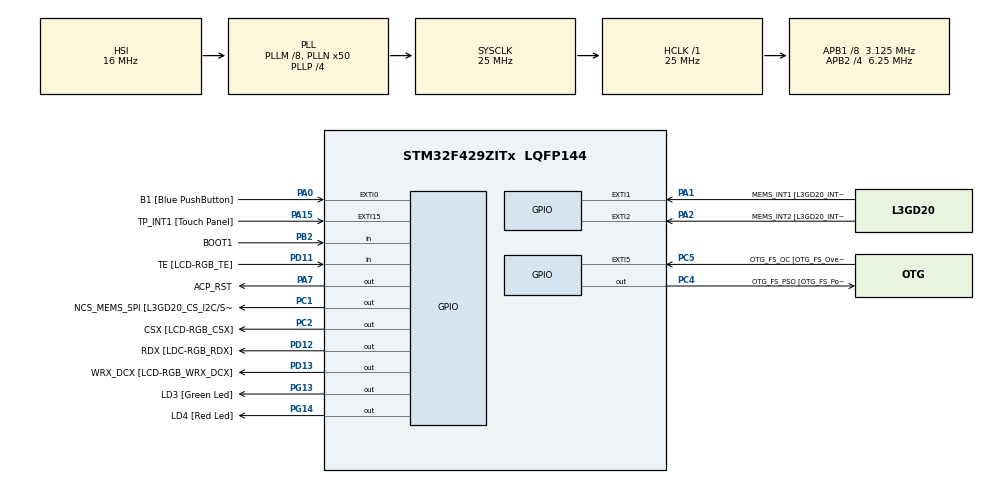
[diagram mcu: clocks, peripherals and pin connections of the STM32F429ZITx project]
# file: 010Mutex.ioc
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Mcu.Family=STM32F4
Mcu.Name=STM32F429ZITx
Mcu.Package=LQFP144
NVIC.PriorityGroup=NVIC_PRIORITYGROUP_4
NVIC.TIM6_DAC_IRQn=true\:15\:0\:false\:false\:true\:false\:true\:true
NVIC.TimeBase=TIM6_DAC_IRQn
NVIC.TimeBaseIP=TIM6
PA0/WKUP.GPIO_Label=B1 [Blue PushButton]
PA0/WKUP.GPIO_ModeDefaultEXTI=GPIO_MODE_EVT_RISING
PA0/WKUP.GPIO_PuPd=GPIO_NOPULL
PA0/WKUP.Signal=GPXTI0
PA1.GPIO_Label=MEMS_INT1 [L3GD20_INT1]
PA1.GPIO_ModeDefaultEXTI=GPIO_MODE_EVT_RISING
PA1.GPIO_PuPd=GPIO_NOPULL
PA1.Signal=GPXTI1
PA10.GPIO_Label=STLINK_TX [STM32F103CBT6_PA2]
PA10.Signal=USART1_RX
PA11.GPIO_Label=R4
PA11.GPIO_Mode=GPIO_MODE_AF_PP
PA11.GPIO_PuPd=GPIO_NOPULL
PA11.GPIO_Speed=GPIO_SPEED_FREQ_LOW
PA11.Signal=LTDC_R4
PA12.GPIO_Label=R5
PA12.GPIO_Mode=GPIO_MODE_AF_PP
PA12.GPIO_PuPd=GPIO_NOPULL
PA12.GPIO_Speed=GPIO_SPEED_FREQ_LOW
PA12.Signal=LTDC_R5
PA13.GPIO_Label=SWDIO
PA13.Signal=SYS_JTMS-SWDIO
PA14.GPIO_Label=SWCLK
PA14.Signal=SYS_JTCK-SWCLK
PA15.GPIO_Label=TP_INT1 [Touch Panel]
PA15.GPIO_ModeDefaultEXTI=GPIO_MODE_EVT_RISING
PA15.GPIO_PuPd=GPIO_NOPULL
PA15.Signal=GPXTI15
PA2.GPIO_Label=MEMS_INT2 [L3GD20_INT2]
PA2.GPIO_ModeDefaultEXTI=GPIO_MODE_EVT_RISING
PA2.GPIO_PuPd=GPIO_NOPULL
PA2.Signal=GPXTI2
PA3.GPIO_Label=B5
PA3.GPIO_Mode=GPIO_MODE_AF_PP
PA3.GPIO_PuPd=GPIO_NOPULL
PA3.GPIO_Speed=GPIO_SPEED_FREQ_LOW
PA3.Signal=LTDC_B5
PA4.GPIO_Label=VSYNC
PA4.GPIO_Mode=GPIO_MODE_AF_PP
PA4.GPIO_PuPd=GPIO_NOPULL
PA4.GPIO_Speed=GPIO_SPEED_FREQ_LOW
PA4.Signal=LTDC_VSYNC
PA6.GPIO_Label=G2
PA6.GPIO_Mode=GPIO_MODE_AF_PP
PA6.GPIO_PuPd=GPIO_NOPULL
PA6.GPIO_Speed=GPIO_SPEED_FREQ_LOW
PA6.Signal=LTDC_G2
PA7.GPIO_Label=ACP_RST
PA7.GPIO_Mode=GPIO_MODE_OUTPUT_PP
PA7.GPIO_PuPd=GPIO_NOPULL
PA7.GPIO_Speed=GPIO_SPEED_FREQ_LOW
PA7.Signal=GPIO_Output
PA8.GPIO_Label=I2C3_SCL [ACP/RF_SCL]
PA8.GPIO_Mode=GPIO_MODE_AF_OD
PA8.GPIO_PuPd=GPIO_NOPULL
PA8.GPIO_Speed=GPIO_SPEED_FREQ_LOW
PA8.Signal=I2C3_SCL
PA9.GPIO_Label=STLINK_RX [STM32F103CBT6_PA3]
PA9.Signal=USART1_TX
PB0.GPIO_Label=R3
PB0.GPIO_Mode=GPIO_MODE_AF_PP
PB0.GPIO_PuPd=GPIO_NOPULL
PB0.GPIO_Speed=GPIO_SPEED_FREQ_LOW
PB0.Signal=LTDC_R3
PB1.GPIO_Label=R6
PB1.GPIO_Mode=GPIO_MODE_AF_PP
PB1.GPIO_PuPd=GPIO_NOPULL
PB1.GPIO_Speed=GPIO_SPEED_FREQ_LOW
PB1.Signal=LTDC_R6
PB10.GPIO_Label=G4
PB10.GPIO_Mode=GPIO_MODE_AF_PP
PB10.GPIO_PuPd=GPIO_NOPULL
PB10.GPIO_Speed=GPIO_SPEED_FREQ_LOW
PB10.Signal=LTDC_G4
PB11.GPIO_Label=G5
PB11.GPIO_Mode=GPIO_MODE_AF_PP
PB11.GPIO_PuPd=GPIO_NOPULL
PB11.GPIO_Speed=GPIO_SPEED_FREQ_LOW
PB11.Signal=LTDC_G5
PB12.GPIO_Label=OTG_HS_ID
PB12.GPIO_Mode=GPIO_MODE_AF_PP
PB12.GPIO_PuPd=GPIO_NOPULL
PB12.GPIO_Speed=GPIO_SPEED_FREQ_LOW
PB12.Signal=USB_OTG_HS_ID
PB13.GPIO_Label=VBUS_HS
PB13.GPIO_Mode=GPIO_MODE_INPUT
PB13.GPIO_PuPd=GPIO_NOPULL
PB13.Signal=USB_OTG_HS_VBUS
PB14.GPIO_Label=OTG_HS_DM
PB14.GPIO_Mode=GPIO_MODE_AF_PP
PB14.GPIO_PuPd=GPIO_NOPULL
PB14.GPIO_Speed=GPIO_SPEED_FREQ_LOW
PB14.Signal=USB_OTG_HS_DM
PB15.GPIO_Label=OTG_HS_DP
PB15.GPIO_Mode=GPIO_MODE_AF_PP
PB15.GPIO_PuPd=GPIO_NOPULL
PB15.GPIO_Speed=GPIO_SPEED_FREQ_LOW
PB15.Signal=USB_OTG_HS_DP
PB2/BOOT1.GPIO_Label=BOOT1
PB2/BOOT1.GPIO_Mode=GPIO_MODE_INPUT
PB2/BOOT1.GPIO_PuPd=GPIO_NOPULL
PB2/BOOT1.Signal=GPIO_Input
PB5.GPIO_Label=SDCKE1
PB5.GPIO_Mode=GPIO_MODE_AF_PP
PB5.GPIO_PuPd=GPIO_NOPULL
PB5.GPIO_Speed=GPIO_SPEED_FREQ_VERY_HIGH
PB5.Signal=FMC_SDCKE1
PB6.GPIO_Label=SDNE1 [SDRAM_CS]
PB6.GPIO_Mode=GPIO_MODE_AF_PP
PB6.GPIO_PuPd=GPIO_NOPULL
PB6.GPIO_Speed=GPIO_SPEED_FREQ_VERY_HIGH
PB6.Signal=FMC_SDNE1
PB8.GPIO_Label=B6
PB8.GPIO_Mode=GPIO_MODE_AF_PP
PB8.GPIO_PuPd=GPIO_NOPULL
PB8.GPIO_Speed=GPIO_SPEED_FREQ_LOW
PB8.Signal=LTDC_B6
PB9.GPIO_Label=B7
PB9.GPIO_Mode=GPIO_MODE_AF_PP
PB9.GPIO_PuPd=GPIO_NOPULL
PB9.GPIO_Speed=GPIO_SPEED_FREQ_LOW
PB9.Signal=LTDC_B7
PC0.GPIO_Label=SDNWE
PC0.GPIO_Mode=GPIO_MODE_AF_PP
PC0.GPIO_PuPd=GPIO_NOPULL
PC0.GPIO_Speed=GPIO_SPEED_FREQ_VERY_HIGH
PC0.Signal=FMC_SDNWE
PC1.GPIO_Label=NCS_MEMS_SPI [L3GD20_CS_I2C/SPI]
PC1.GPIO_Mode=GPIO_MODE_OUTPUT_PP
PC1.GPIO_PuPd=GPIO_NOPULL
PC1.GPIO_Speed=GPIO_SPEED_FREQ_LOW
PC1.Signal=GPIO_Output
PC10.GPIO_Label=R2
PC10.GPIO_Mode=GPIO_MODE_AF_PP
PC10.GPIO_PuPd=GPIO_NOPULL
PC10.GPIO_Speed=GPIO_SPEED_FREQ_LOW
PC10.Signal=LTDC_R2
PC14/OSC32_IN.GPIO_Label=PC14-OSC32_IN
PC14/OSC32_IN.Signal=RCC_OSC32_IN
PC15/OSC32_OUT.GPIO_Label=PC15-OSC32_OUT
PC15/OSC32_OUT.Signal=RCC_OSC32_OUT
PC2.GPIO_Label=CSX [LCD-RGB_CSX]
PC2.GPIO_Mode=GPIO_MODE_OUTPUT_PP
PC2.GPIO_PuPd=GPIO_NOPULL
PC2.GPIO_Speed=GPIO_SPEED_FREQ_LOW
PC2.Signal=GPIO_Output
PC4.GPIO_Label=OTG_FS_PSO [OTG_FS_PowerSwitchOn]
PC4.GPIO_Mode=GPIO_MODE_OUTPUT_PP
PC4.GPIO_PuPd=GPIO_NOPULL
PC4.GPIO_Speed=GPIO_SPEED_FREQ_LOW
PC4.Signal=GPIO_Output
PC5.GPIO_Label=OTG_FS_OC [OTG_FS_OverCurrent]
PC5.GPIO_ModeDefaultEXTI=GPIO_MODE_EVT_RISING
PC5.Signal=GPXTI5
PC6.GPIO_Label=HSYNC
PC6.GPIO_Mode=GPIO_MODE_AF_PP
PC6.GPIO_PuPd=GPIO_NOPULL
PC6.GPIO_Speed=GPIO_SPEED_FREQ_LOW
PC6.Signal=LTDC_HSYNC
PC7.GPIO_Label=G6
PC7.GPIO_Mode=GPIO_MODE_AF_PP
PC7.GPIO_PuPd=GPIO_NOPULL
PC7.GPIO_Speed=GPIO_SPEED_FREQ_LOW
PC7.Signal=LTDC_G6
PC9.GPIO_Label=I2C3_SDA [ACP/RF_SDA]
PC9.GPIO_Mode=GPIO_MODE_AF_OD
PC9.GPIO_PuPd=GPIO_NOPULL
PC9.GPIO_Speed=GPIO_SPEED_FREQ_LOW
PC9.Signal=I2C3_SDA
PD0.GPIO_Label=D2
PD0.GPIO_Mode=GPIO_MODE_AF_PP
PD0.GPIO_PuPd=GPIO_NOPULL
PD0.GPIO_Speed=GPIO_SPEED_FREQ_VERY_HIGH
PD0.Signal=FMC_D2_DA2
PD1.GPIO_Label=D3
PD1.GPIO_Mode=GPIO_MODE_AF_PP
PD1.GPIO_PuPd=GPIO_NOPULL
PD1.GPIO_Speed=GPIO_SPEED_FREQ_VERY_HIGH
PD1.Signal=FMC_D3_DA3
PD10.GPIO_Label=D15
PD10.GPIO_Mode=GPIO_MODE_AF_PP
PD10.GPIO_PuPd=GPIO_NOPULL
PD10.GPIO_Speed=GPIO_SPEED_FREQ_VERY_HIGH
PD10.Signal=FMC_D15_DA15
PD11.GPIO_Label=TE [LCD-RGB_TE]
PD11.GPIO_Mode=GPIO_MODE_INPUT
PD11.GPIO_PuPd=GPIO_NOPULL
PD11.Signal=GPIO_Input
PD12.GPIO_Label=RDX [LDC-RGB_RDX]
PD12.GPIO_Mode=GPIO_MODE_OUTPUT_PP
PD12.GPIO_PuPd=GPIO_NOPULL
PD12.GPIO_Speed=GPIO_SPEED_FREQ_LOW
PD12.Signal=GPIO_Output
PD13.GPIO_Label=WRX_DCX [LCD-RGB_WRX_DCX]
PD13.GPIO_Mode=GPIO_MODE_OUTPUT_PP
PD13.GPIO_PuPd=GPIO_NOPULL
PD13.GPIO_Speed=GPIO_SPEED_FREQ_LOW
PD13.Signal=GPIO_Output
PD14.GPIO_Label=D0
PD14.GPIO_Mode=GPIO_MODE_AF_PP
PD14.GPIO_PuPd=GPIO_NOPULL
PD14.GPIO_Speed=GPIO_SPEED_FREQ_VERY_HIGH
PD14.Signal=FMC_D0_DA0
PD15.GPIO_Label=D1
PD15.GPIO_Mode=GPIO_MODE_AF_PP
PD15.GPIO_PuPd=GPIO_NOPULL
PD15.GPIO_Speed=GPIO_SPEED_FREQ_VERY_HIGH
PD15.Signal=FMC_D1_DA1
PD3.GPIO_Label=G7
PD3.GPIO_Mode=GPIO_MODE_AF_PP
PD3.GPIO_PuPd=GPIO_NOPULL
PD3.GPIO_Speed=GPIO_SPEED_FREQ_LOW
PD3.Signal=LTDC_G7
PD6.GPIO_Label=B2
PD6.GPIO_Mode=GPIO_MODE_AF_PP
PD6.GPIO_PuPd=GPIO_NOPULL
PD6.GPIO_Speed=GPIO_SPEED_FREQ_LOW
PD6.Signal=LTDC_B2
PD8.GPIO_Label=D13
PD8.GPIO_Mode=GPIO_MODE_AF_PP
PD8.GPIO_PuPd=GPIO_NOPULL
PD8.GPIO_Speed=GPIO_SPEED_FREQ_VERY_HIGH
PD8.Signal=FMC_D13_DA13
PD9.GPIO_Label=D14
PD9.GPIO_Mode=GPIO_MODE_AF_PP
PD9.GPIO_PuPd=GPIO_NOPULL
PD9.GPIO_Speed=GPIO_SPEED_FREQ_VERY_HIGH
PD9.Signal=FMC_D14_DA14
PE0.GPIO_Label=NBL0 [SDRAM_LDQM]
PE0.GPIO_Mode=GPIO_MODE_AF_PP
PE0.GPIO_PuPd=GPIO_NOPULL
PE0.GPIO_Speed=GPIO_SPEED_FREQ_VERY_HIGH
PE0.Signal=FMC_NBL0
PE1.GPIO_Label=NBL1 [SDRAM_UDQM]
PE1.GPIO_Mode=GPIO_MODE_AF_PP
PE1.GPIO_PuPd=GPIO_NOPULL
PE1.GPIO_Speed=GPIO_SPEED_FREQ_VERY_HIGH
PE1.Signal=FMC_NBL1
PE10.GPIO_Label=D7
PE10.GPIO_Mode=GPIO_MODE_AF_PP
PE10.GPIO_PuPd=GPIO_NOPULL
PE10.GPIO_Speed=GPIO_SPEED_FREQ_VERY_HIGH
PE10.Signal=FMC_D7_DA7
PE11.GPIO_Label=D8
PE11.GPIO_Mode=GPIO_MODE_AF_PP
PE11.GPIO_PuPd=GPIO_NOPULL
PE11.GPIO_Speed=GPIO_SPEED_FREQ_VERY_HIGH
PE11.Signal=FMC_D8_DA8
PE12.GPIO_Label=D9
PE12.GPIO_Mode=GPIO_MODE_AF_PP
PE12.GPIO_PuPd=GPIO_NOPULL
PE12.GPIO_Speed=GPIO_SPEED_FREQ_VERY_HIGH
PE12.Signal=FMC_D9_DA9
PE13.GPIO_Label=D10
PE13.GPIO_Mode=GPIO_MODE_AF_PP
PE13.GPIO_PuPd=GPIO_NOPULL
PE13.GPIO_Speed=GPIO_SPEED_FREQ_VERY_HIGH
PE13.Signal=FMC_D10_DA10
PE14.GPIO_Label=D11
PE14.GPIO_Mode=GPIO_MODE_AF_PP
PE14.GPIO_PuPd=GPIO_NOPULL
PE14.GPIO_Speed=GPIO_SPEED_FREQ_VERY_HIGH
PE14.Signal=FMC_D11_DA11
PE15.GPIO_Label=D12
PE15.GPIO_Mode=GPIO_MODE_AF_PP
PE15.GPIO_PuPd=GPIO_NOPULL
PE15.GPIO_Speed=GPIO_SPEED_FREQ_VERY_HIGH
PE15.Signal=FMC_D12_DA12
PE7.GPIO_Label=D4
PE7.GPIO_Mode=GPIO_MODE_AF_PP
PE7.GPIO_PuPd=GPIO_NOPULL
PE7.GPIO_Speed=GPIO_SPEED_FREQ_VERY_HIGH
PE7.Signal=FMC_D4_DA4
PE8.GPIO_Label=D5
PE8.GPIO_Mode=GPIO_MODE_AF_PP
PE8.GPIO_PuPd=GPIO_NOPULL
PE8.GPIO_Speed=GPIO_SPEED_FREQ_VERY_HIGH
PE8.Signal=FMC_D5_DA5
PE9.GPIO_Label=D6
PE9.GPIO_Mode=GPIO_MODE_AF_PP
PE9.GPIO_PuPd=GPIO_NOPULL
PE9.GPIO_Speed=GPIO_SPEED_FREQ_VERY_HIGH
PE9.Signal=FMC_D6_DA6
PF0.GPIO_Label=A0
PF0.GPIO_Mode=GPIO_MODE_AF_PP
PF0.GPIO_PuPd=GPIO_NOPULL
PF0.GPIO_Speed=GPIO_SPEED_FREQ_VERY_HIGH
PF0.Signal=FMC_A0
PF1.GPIO_Label=A1
PF1.GPIO_Mode=GPIO_MODE_AF_PP
PF1.GPIO_PuPd=GPIO_NOPULL
PF1.GPIO_Speed=GPIO_SPEED_FREQ_VERY_HIGH
PF1.Signal=FMC_A1
PF10.GPIO_Label=ENABLE [LCD-RGB_ENABLE]
PF10.GPIO_Mode=GPIO_MODE_AF_PP
PF10.GPIO_PuPd=GPIO_NOPULL
PF10.GPIO_Speed=GPIO_SPEED_FREQ_LOW
PF10.Signal=LTDC_DE
PF11.GPIO_Label=SDNRAS
PF11.GPIO_Mode=GPIO_MODE_AF_PP
PF11.GPIO_PuPd=GPIO_NOPULL
PF11.GPIO_Speed=GPIO_SPEED_FREQ_VERY_HIGH
PF11.Signal=FMC_SDNRAS
PF12.GPIO_Label=A6
PF12.GPIO_Mode=GPIO_MODE_AF_PP
PF12.GPIO_PuPd=GPIO_NOPULL
PF12.GPIO_Speed=GPIO_SPEED_FREQ_VERY_HIGH
PF12.Signal=FMC_A6
PF13.GPIO_Label=A7
PF13.GPIO_Mode=GPIO_MODE_AF_PP
PF13.GPIO_PuPd=GPIO_NOPULL
PF13.GPIO_Speed=GPIO_SPEED_FREQ_VERY_HIGH
PF13.Signal=FMC_A7
PF14.GPIO_Label=A8
PF14.GPIO_Mode=GPIO_MODE_AF_PP
PF14.GPIO_PuPd=GPIO_NOPULL
PF14.GPIO_Speed=GPIO_SPEED_FREQ_VERY_HIGH
PF14.Signal=FMC_A8
PF15.GPIO_Label=A9
PF15.GPIO_Mode=GPIO_MODE_AF_PP
PF15.GPIO_PuPd=GPIO_NOPULL
PF15.GPIO_Speed=GPIO_SPEED_FREQ_VERY_HIGH
PF15.Signal=FMC_A9
PF2.GPIO_Label=A2
PF2.GPIO_Mode=GPIO_MODE_AF_PP
PF2.GPIO_PuPd=GPIO_NOPULL
PF2.GPIO_Speed=GPIO_SPEED_FREQ_VERY_HIGH
PF2.Signal=FMC_A2
PF3.GPIO_Label=A3
PF3.GPIO_Mode=GPIO_MODE_AF_PP
PF3.GPIO_PuPd=GPIO_NOPULL
PF3.GPIO_Speed=GPIO_SPEED_FREQ_VERY_HIGH
PF3.Signal=FMC_A3
PF4.GPIO_Label=A4
PF4.GPIO_Mode=GPIO_MODE_AF_PP
PF4.GPIO_PuPd=GPIO_NOPULL
PF4.GPIO_Speed=GPIO_SPEED_FREQ_VERY_HIGH
PF4.Signal=FMC_A4
PF5.GPIO_Label=A5
PF5.GPIO_Mode=GPIO_MODE_AF_PP
PF5.GPIO_PuPd=GPIO_NOPULL
PF5.GPIO_Speed=GPIO_SPEED_FREQ_VERY_HIGH
PF5.Signal=FMC_A5
PF7.GPIO_Label=SPI5_SCK [L3GD20_SCL/SPC]
PF7.GPIO_Mode=GPIO_MODE_AF_PP
PF7.GPIO_PuPd=GPIO_NOPULL
PF7.GPIO_Speed=GPIO_SPEED_FREQ_LOW
PF7.Signal=SPI5_SCK
PF8.GPIO_Label=SPI5_MISO [L3GD20_SDO]
PF8.GPIO_Mode=GPIO_MODE_AF_PP
PF8.GPIO_PuPd=GPIO_NOPULL
PF8.GPIO_Speed=GPIO_SPEED_FREQ_LOW
PF8.Signal=SPI5_MISO
PF9.GPIO_Label=SPI5_MOSI [L3GD20_SDA/SDI/SDO]
PF9.GPIO_Mode=GPIO_MODE_AF_PP
PF9.GPIO_PuPd=GPIO_NOPULL
PF9.GPIO_Speed=GPIO_SPEED_FREQ_LOW
PF9.Signal=SPI5_MOSI
PG0.GPIO_Label=A10
PG0.GPIO_Mode=GPIO_MODE_AF_PP
PG0.GPIO_PuPd=GPIO_NOPULL
PG0.GPIO_Speed=GPIO_SPEED_FREQ_VERY_HIGH
PG0.Signal=FMC_A10
PG1.GPIO_Label=A11
PG1.GPIO_Mode=GPIO_MODE_AF_PP
PG1.GPIO_PuPd=GPIO_NOPULL
PG1.GPIO_Speed=GPIO_SPEED_FREQ_VERY_HIGH
PG1.Signal=FMC_A11
PG10.GPIO_Label=G3
PG10.GPIO_Mode=GPIO_MODE_AF_PP
PG10.GPIO_PuPd=GPIO_NOPULL
PG10.GPIO_Speed=GPIO_SPEED_FREQ_LOW
PG10.Signal=LTDC_G3
PG11.GPIO_Label=B3
PG11.GPIO_Mode=GPIO_MODE_AF_PP
PG11.GPIO_PuPd=GPIO_NOPULL
PG11.GPIO_Speed=GPIO_SPEED_FREQ_LOW
PG11.Signal=LTDC_B3
PG12.GPIO_Label=B4
PG12.GPIO_Mode=GPIO_MODE_AF_PP
PG12.GPIO_PuPd=GPIO_NOPULL
PG12.GPIO_Speed=GPIO_SPEED_FREQ_LOW
PG12.Signal=LTDC_B4
PG13.GPIO_Label=LD3 [Green Led]
PG13.GPIO_Mode=GPIO_MODE_OUTPUT_PP
PG13.GPIO_PuPd=GPIO_NOPULL
PG13.GPIO_Speed=GPIO_SPEED_FREQ_LOW
PG13.Signal=GPIO_Output
PG14.GPIO_Label=LD4 [Red Led]
PG14.GPIO_Mode=GPIO_MODE_OUTPUT_PP
PG14.GPIO_PuPd=GPIO_NOPULL
PG14.GPIO_Speed=GPIO_SPEED_FREQ_LOW
PG14.Signal=GPIO_Output
PG15.GPIO_Label=SDNCAS
PG15.GPIO_Mode=GPIO_MODE_AF_PP
PG15.GPIO_PuPd=GPIO_NOPULL
PG15.GPIO_Speed=GPIO_SPEED_FREQ_VERY_HIGH
PG15.Signal=FMC_SDNCAS
PG4.GPIO_Label=BA0
PG4.GPIO_Mode=GPIO_MODE_AF_PP
PG4.GPIO_PuPd=GPIO_NOPULL
PG4.GPIO_Speed=GPIO_SPEED_FREQ_VERY_HIGH
PG4.Signal=FMC_A14_BA0
PG5.GPIO_Label=BA1
PG5.GPIO_Mode=GPIO_MODE_AF_PP
PG5.GPIO_PuPd=GPIO_NOPULL
PG5.GPIO_Speed=GPIO_SPEED_FREQ_VERY_HIGH
PG5.Signal=FMC_A15_BA1
PG6.GPIO_Label=R7
PG6.GPIO_Mode=GPIO_MODE_AF_PP
PG6.GPIO_PuPd=GPIO_NOPULL
PG6.GPIO_Speed=GPIO_SPEED_FREQ_LOW
PG6.Signal=LTDC_R7
PG7.GPIO_Label=DOTCLK [LCT-RGB_DOTCLK]
PG7.GPIO_Mode=GPIO_MODE_AF_PP
PG7.GPIO_PuPd=GPIO_NOPULL
PG7.GPIO_Speed=GPIO_SPEED_FREQ_LOW
PG7.Signal=LTDC_CLK
PG8.GPIO_Label=SDCLK
PG8.GPIO_Mode=GPIO_MODE_AF_PP
PG8.GPIO_PuPd=GPIO_NOPULL
PG8.GPIO_Speed=GPIO_SPEED_FREQ_VERY_HIGH
PG8.Signal=FMC_SDCLK
PH0/OSC_IN.GPIO_Label=PH0-OSC_IN
PH0/OSC_IN.Signal=RCC_OSC_IN
PH1/OSC_OUT.GPIO_Label=PH1-OSC_OUT
PH1/OSC_OUT.Signal=RCC_OSC_OUT
ProjectManager.HeapSize=0x200
ProjectManager.StackSize=0x400
ProjectManager.TargetToolchain=STM32CubeIDE
RCC.48MHZClocksFreq_Value=14285714.285714285
RCC.AHBFreq_Value=25000000
RCC.APB1CLKDivider=RCC_HCLK_DIV8
RCC.APB1Freq_Value=3125000
RCC.APB1TimFreq_Value=6250000
RCC.APB2CLKDivider=RCC_HCLK_DIV4
RCC.APB2Freq_Value=6250000
RCC.APB2TimFreq_Value=12500000
RCC.CortexFreq_Value=25000000
RCC.HCLKFreq_Value=25000000
RCC.HSE_VALUE=8000000
RCC.HSI_VALUE=16000000
RCC.LSE_VALUE=32768
RCC.PLLM=8
RCC.PLLN=50
RCC.PLLP=RCC_PLLP_DIV4
RCC.PLLQ=7
RCC.SYSCLKFreq_VALUE=25000000
RCC.SYSCLKSource=RCC_SYSCLKSOURCE_PLLCLK
RCC.VCOOutputFreq_Value=100000000
SH.FMC_A0.0=FMC_A0
SH.FMC_A1.0=FMC_A1
SH.FMC_A10.0=FMC_A10
SH.FMC_A11.0=FMC_A11
SH.FMC_A14_BA0.0=FMC_BA0
SH.FMC_A15_BA1.0=FMC_BA1
SH.FMC_A2.0=FMC_A2
SH.FMC_A3.0=FMC_A3
SH.FMC_A4.0=FMC_A4
SH.FMC_A5.0=FMC_A5
SH.FMC_A6.0=FMC_A6
SH.FMC_A7.0=FMC_A7
SH.FMC_A8.0=FMC_A8
SH.FMC_A9.0=FMC_A9
SH.FMC_D0_DA0.0=FMC_D0
SH.FMC_D10_DA10.0=FMC_D10
SH.FMC_D11_DA11.0=FMC_D11
SH.FMC_D12_DA12.0=FMC_D12
SH.FMC_D13_DA13.0=FMC_D13
SH.FMC_D14_DA14.0=FMC_D14
SH.FMC_D15_DA15.0=FMC_D15
SH.FMC_D1_DA1.0=FMC_D1
SH.FMC_D2_DA2.0=FMC_D2
SH.FMC_D3_DA3.0=FMC_D3
SH.FMC_D4_DA4.0=FMC_D4
SH.FMC_D5_DA5.0=FMC_D5
SH.FMC_D6_DA6.0=FMC_D6
SH.FMC_D7_DA7.0=FMC_D7
SH.FMC_D8_DA8.0=FMC_D8
SH.FMC_D9_DA9.0=FMC_D9
SH.FMC_NBL0.0=FMC_NBL0
SH.FMC_NBL1.0=FMC_NBL1
SH.FMC_SDCLK.0=FMC_SDCLK
SH.FMC_SDNCAS.0=FMC_SDNCAS
SH.FMC_SDNRAS.0=FMC_SDNRAS
SH.FMC_SDNWE.0=FMC_SDNWE
VP_SYS_VS_tim6.Mode=TIM6
board=STM32F429I-DISC1

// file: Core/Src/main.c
/* USER CODE BEGIN Header */
/**
  ******************************************************************************
  * @file           : main.c
  * @brief          : Main program body
  ******************************************************************************
  * @attention
  *
  * Copyright (c) 2024 STMicroelectronics.
  * All rights reserved.
  *
  * This software is licensed under terms that can be found in the LICENSE file
  * in the root directory of this software component.
  * If no LICENSE file comes with this software, it is provided AS-IS.
  *
  ******************************************************************************
  */
/* USER CODE END Header */
#include "main.h"
#include <stdio.h>
#include "FreeRTOS.h"
#include "task.h"
#include "semphr.h"

/* USER CODE BEGIN PV */

SemaphoreHandle_t xLogMutex;

/* USER CODE END PV */

void SystemClock_Config(void);
static void MX_GPIO_Init(void);
/* USER CODE BEGIN PFP */
static void TaskHandler1(void *pvParam);
static void TaskHandler2(void *pvParam);
static void TaskHandler3(void *pvParam);
static void AddToLog(const char *pcString);

/* USER CODE END PFP */

int main(void)
{
  /* USER CODE BEGIN 1 */
	BaseType_t xRet = pdFAIL;
	TaskHandle_t task1Handle, task2Handle, task3Handle;

  /* USER CODE END 1 */

  /* MCU Configuration--------------------------------------------------------*/

  /* Reset of all peripherals, Initializes the Flash interface and the Systick. */
  HAL_Init();

  /* Configure the system clock */
  SystemClock_Config();

  /* Initialize all configured peripherals */
  MX_GPIO_Init();
  /* USER CODE BEGIN 2 */
  xRet = xTaskCreate(TaskHandler1, "task_handler1", 200, NULL, 2, &task1Handle);
  configASSERT(pdPASS == xRet);

  xRet = xTaskCreate(TaskHandler2, "task_handler2", 200, NULL, 2, &task2Handle);
  configASSERT(pdPASS == xRet);

  xRet = xTaskCreate(TaskHandler3, "task_handler3", 200, NULL, 2, &task3Handle);
  configASSERT(pdPASS == xRet);

  xLogMutex = xSemaphoreCreateMutex();
  configASSERT(xLogMutex != NULL);

  vTaskStartScheduler();

  /* USER CODE END 2 */

  /* Infinite loop */
  while (1)
  {

  }
}

void SystemClock_Config(void)
{
  RCC_OscInitTypeDef RCC_OscInitStruct = {0};
  RCC_ClkInitTypeDef RCC_ClkInitStruct = {0};

  /** Configure the main internal regulator output voltage
  */
  __HAL_RCC_PWR_CLK_ENABLE();
  __HAL_PWR_VOLTAGESCALING_CONFIG(PWR_REGULATOR_VOLTAGE_SCALE3);

  /** Initializes the RCC Oscillators according to the specified parameters
  * in the RCC_OscInitTypeDef structure.
  */
  RCC_OscInitStruct.OscillatorType = RCC_OSCILLATORTYPE_HSI;
  RCC_OscInitStruct.HSIState = RCC_HSI_ON;
  RCC_OscInitStruct.HSICalibrationValue = RCC_HSICALIBRATION_DEFAULT;
  RCC_OscInitStruct.PLL.PLLState = RCC_PLL_ON;
  RCC_OscInitStruct.PLL.PLLSource = RCC_PLLSOURCE_HSI;
  RCC_OscInitStruct.PLL.PLLM = 8;
  RCC_OscInitStruct.PLL.PLLN = 50;
  RCC_OscInitStruct.PLL.PLLP = RCC_PLLP_DIV4;
  RCC_OscInitStruct.PLL.PLLQ = 7;
  if (HAL_RCC_OscConfig(&RCC_OscInitStruct) != HAL_OK)
  {
    Error_Handler();
  }

  /** Initializes the CPU, AHB and APB buses clocks
  */
  RCC_ClkInitStruct.ClockType = RCC_CLOCKTYPE_HCLK|RCC_CLOCKTYPE_SYSCLK
                              |RCC_CLOCKTYPE_PCLK1|RCC_CLOCKTYPE_PCLK2;
  RCC_ClkInitStruct.SYSCLKSource = RCC_SYSCLKSOURCE_PLLCLK;
  RCC_ClkInitStruct.AHBCLKDivider = RCC_SYSCLK_DIV1;
  RCC_ClkInitStruct.APB1CLKDivider = RCC_HCLK_DIV8;
  RCC_ClkInitStruct.APB2CLKDivider = RCC_HCLK_DIV4;

  if (HAL_RCC_ClockConfig(&RCC_ClkInitStruct, FLASH_LATENCY_0) != HAL_OK)
  {
    Error_Handler();
  }
}

static void MX_GPIO_Init(void)
{
  GPIO_InitTypeDef GPIO_InitStruct = {0};

  /* GPIO Ports Clock Enable */
  __HAL_RCC_GPIOC_CLK_ENABLE();
  __HAL_RCC_GPIOF_CLK_ENABLE();
  __HAL_RCC_GPIOH_CLK_ENABLE();
  __HAL_RCC_GPIOA_CLK_ENABLE();
  __HAL_RCC_GPIOB_CLK_ENABLE();
  __HAL_RCC_GPIOG_CLK_ENABLE();
  __HAL_RCC_GPIOE_CLK_ENABLE();
  __HAL_RCC_GPIOD_CLK_ENABLE();

  /*Configure GPIO pin Output Level */
  HAL_GPIO_WritePin(GPIOC, NCS_MEMS_SPI_Pin|CSX_Pin|OTG_FS_PSO_Pin, GPIO_PIN_RESET);

  /*Configure GPIO pin Output Level */
  HAL_GPIO_WritePin(ACP_RST_GPIO_Port, ACP_RST_Pin, GPIO_PIN_RESET);

  /*Configure GPIO pin Output Level */
  HAL_GPIO_WritePin(GPIOD, RDX_Pin|WRX_DCX_Pin, GPIO_PIN_RESET);

  /*Configure GPIO pin Output Level */
  HAL_GPIO_WritePin(GPIOG, LD3_Pin|LD4_Pin, GPIO_PIN_RESET);

  /*Configure GPIO pins : A0_Pin A1_Pin A2_Pin A3_Pin
                           A4_Pin A5_Pin SDNRAS_Pin A6_Pin
                           A7_Pin A8_Pin A9_Pin */
  GPIO_InitStruct.Pin = A0_Pin|A1_Pin|A2_Pin|A3_Pin
                          |A4_Pin|A5_Pin|SDNRAS_Pin|A6_Pin
                          |A7_Pin|A8_Pin|A9_Pin;
  GPIO_InitStruct.Mode = GPIO_MODE_AF_PP;
  GPIO_InitStruct.Pull = GPIO_NOPULL;
  GPIO_InitStruct.Speed = GPIO_SPEED_FREQ_VERY_HIGH;
  GPIO_InitStruct.Alternate = GPIO_AF12_FMC;
  HAL_GPIO_Init(GPIOF, &GPIO_InitStruct);

  /*Configure GPIO pins : SPI5_SCK_Pin SPI5_MISO_Pin SPI5_MOSI_Pin */
  GPIO_InitStruct.Pin = SPI5_SCK_Pin|SPI5_MISO_Pin|SPI5_MOSI_Pin;
  GPIO_InitStruct.Mode = GPIO_MODE_AF_PP;
  GPIO_InitStruct.Pull = GPIO_NOPULL;
  GPIO_InitStruct.Speed = GPIO_SPEED_FREQ_LOW;
  GPIO_InitStruct.Alternate = GPIO_AF5_SPI5;
  HAL_GPIO_Init(GPIOF, &GPIO_InitStruct);

  /*Configure GPIO pin : ENABLE_Pin */
  GPIO_InitStruct.Pin = ENABLE_Pin;
  GPIO_InitStruct.Mode = GPIO_MODE_AF_PP;
  GPIO_InitStruct.Pull = GPIO_NOPULL;
  GPIO_InitStruct.Speed = GPIO_SPEED_FREQ_LOW;
  GPIO_InitStruct.Alternate = GPIO_AF14_LTDC;
  HAL_GPIO_Init(ENABLE_GPIO_Port, &GPIO_InitStruct);

  /*Configure GPIO pin : SDNWE_Pin */
  GPIO_InitStruct.Pin = SDNWE_Pin;
  GPIO_InitStruct.Mode = GPIO_MODE_AF_PP;
  GPIO_InitStruct.Pull = GPIO_NOPULL;
  GPIO_InitStruct.Speed = GPIO_SPEED_FREQ_VERY_HIGH;
  GPIO_InitStruct.Alternate = GPIO_AF12_FMC;
  HAL_GPIO_Init(SDNWE_GPIO_Port, &GPIO_InitStruct);

  /*Configure GPIO pins : NCS_MEMS_SPI_Pin CSX_Pin OTG_FS_PSO_Pin */
  GPIO_InitStruct.Pin = NCS_MEMS_SPI_Pin|CSX_Pin|OTG_FS_PSO_Pin;
  GPIO_InitStruct.Mode = GPIO_MODE_OUTPUT_PP;
  GPIO_InitStruct.Pull = GPIO_NOPULL;
  GPIO_InitStruct.Speed = GPIO_SPEED_FREQ_LOW;
  HAL_GPIO_Init(GPIOC, &GPIO_InitStruct);

  /*Configure GPIO pins : B1_Pin MEMS_INT1_Pin MEMS_INT2_Pin TP_INT1_Pin */
  GPIO_InitStruct.Pin = B1_Pin|MEMS_INT1_Pin|MEMS_INT2_Pin|TP_INT1_Pin;
  GPIO_InitStruct.Mode = GPIO_MODE_EVT_RISING;
  GPIO_InitStruct.Pull = GPIO_NOPULL;
  HAL_GPIO_Init(GPIOA, &GPIO_InitStruct);

  /*Configure GPIO pins : B5_Pin VSYNC_Pin G2_Pin R4_Pin
                           R5_Pin */
  GPIO_InitStruct.Pin = B5_Pin|VSYNC_Pin|G2_Pin|R4_Pin
                          |R5_Pin;
  GPIO_InitStruct.Mode = GPIO_MODE_AF_PP;
  GPIO_InitStruct.Pull = GPIO_NOPULL;
  GPIO_InitStruct.Speed = GPIO_SPEED_FREQ_LOW;
  GPIO_InitStruct.Alternate = GPIO_AF14_LTDC;
  HAL_GPIO_Init(GPIOA, &GPIO_InitStruct);

  /*Configure GPIO pin : ACP_RST_Pin */
  GPIO_InitStruct.Pin = ACP_RST_Pin;
  GPIO_InitStruct.Mode = GPIO_MODE_OUTPUT_PP;
  GPIO_InitStruct.Pull = GPIO_NOPULL;
  GPIO_InitStruct.Speed = GPIO_SPEED_FREQ_LOW;
  HAL_GPIO_Init(ACP_RST_GPIO_Port, &GPIO_InitStruct);

  /*Configure GPIO pin : OTG_FS_OC_Pin */
  GPIO_InitStruct.Pin = OTG_FS_OC_Pin;
  GPIO_InitStruct.Mode = GPIO_MODE_EVT_RISING;
  GPIO_InitStruct.Pull = GPIO_NOPULL;
  HAL_GPIO_Init(OTG_FS_OC_GPIO_Port, &GPIO_InitStruct);

  /*Configure GPIO pins : R3_Pin R6_Pin */
  GPIO_InitStruct.Pin = R3_Pin|R6_Pin;
  GPIO_InitStruct.Mode = GPIO_MODE_AF_PP;
  GPIO_InitStruct.Pull = GPIO_NOPULL;
  GPIO_InitStruct.Speed = GPIO_SPEED_FREQ_LOW;
  GPIO_InitStruct.Alternate = GPIO_AF9_LTDC;
  HAL_GPIO_Init(GPIOB, &GPIO_InitStruct);

  /*Configure GPIO pin : BOOT1_Pin */
  GPIO_InitStruct.Pin = BOOT1_Pin;
  GPIO_InitStruct.Mode = GPIO_MODE_INPUT;
  GPIO_InitStruct.Pull = GPIO_NOPULL;
  HAL_GPIO_Init(BOOT1_GPIO_Port, &GPIO_InitStruct);

  /*Configure GPIO pins : A10_Pin A11_Pin BA0_Pin BA1_Pin
                           SDCLK_Pin SDNCAS_Pin */
  GPIO_InitStruct.Pin = A10_Pin|A11_Pin|BA0_Pin|BA1_Pin
                          |SDCLK_Pin|SDNCAS_Pin;
  GPIO_InitStruct.Mode = GPIO_MODE_AF_PP;
  GPIO_InitStruct.Pull = GPIO_NOPULL;
  GPIO_InitStruct.Speed = GPIO_SPEED_FREQ_VERY_HIGH;
  GPIO_InitStruct.Alternate = GPIO_AF12_FMC;
  HAL_GPIO_Init(GPIOG, &GPIO_InitStruct);

  /*Configure GPIO pins : D4_Pin D5_Pin D6_Pin D7_Pin
                           D8_Pin D9_Pin D10_Pin D11_Pin
                           D12_Pin NBL0_Pin NBL1_Pin */
  GPIO_InitStruct.Pin = D4_Pin|D5_Pin|D6_Pin|D7_Pin
                          |D8_Pin|D9_Pin|D10_Pin|D11_Pin
                          |D12_Pin|NBL0_Pin|NBL1_Pin;
  GPIO_InitStruct.Mode = GPIO_MODE_AF_PP;
  GPIO_InitStruct.Pull = GPIO_NOPULL;
  GPIO_InitStruct.Speed = GPIO_SPEED_FREQ_VERY_HIGH;
  GPIO_InitStruct.Alternate = GPIO_AF12_FMC;
  HAL_GPIO_Init(GPIOE, &GPIO_InitStruct);

  /*Configure GPIO pins : G4_Pin G5_Pin B6_Pin B7_Pin */
  GPIO_InitStruct.Pin = G4_Pin|G5_Pin|B6_Pin|B7_Pin;
  GPIO_InitStruct.Mode = GPIO_MODE_AF_PP;
  GPIO_InitStruct.Pull = GPIO_NOPULL;
  GPIO_InitStruct.Speed = GPIO_SPEED_FREQ_LOW;
  GPIO_InitStruct.Alternate = GPIO_AF14_LTDC;
  HAL_GPIO_Init(GPIOB, &GPIO_InitStruct);

  /*Configure GPIO pins : OTG_HS_ID_Pin OTG_HS_DM_Pin OTG_HS_DP_Pin */
  GPIO_InitStruct.Pin = OTG_HS_ID_Pin|OTG_HS_DM_Pin|OTG_HS_DP_Pin;
  GPIO_InitStruct.Mode = GPIO_MODE_AF_PP;
  GPIO_InitStruct.Pull = GPIO_NOPULL;
  GPIO_InitStruct.Speed = GPIO_SPEED_FREQ_LOW;
  GPIO_InitStruct.Alternate = GPIO_AF12_OTG_HS_FS;
  HAL_GPIO_Init(GPIOB, &GPIO_InitStruct);

  /*Configure GPIO pin : VBUS_HS_Pin */
  GPIO_InitStruct.Pin = VBUS_HS_Pin;
  GPIO_InitStruct.Mode = GPIO_MODE_INPUT;
  GPIO_InitStruct.Pull = GPIO_NOPULL;
  HAL_GPIO_Init(VBUS_HS_GPIO_Port, &GPIO_InitStruct);

  /*Configure GPIO pins : D13_Pin D14_Pin D15_Pin D0_Pin
                           D1_Pin D2_Pin D3_Pin */
  GPIO_InitStruct.Pin = D13_Pin|D14_Pin|D15_Pin|D0_Pin
                          |D1_Pin|D2_Pin|D3_Pin;
  GPIO_InitStruct.Mode = GPIO_MODE_AF_PP;
  GPIO_InitStruct.Pull = GPIO_NOPULL;
  GPIO_InitStruct.Speed = GPIO_SPEED_FREQ_VERY_HIGH;
  GPIO_InitStruct.Alternate = GPIO_AF12_FMC;
  HAL_GPIO_Init(GPIOD, &GPIO_InitStruct);

  /*Configure GPIO pin : TE_Pin */
  GPIO_InitStruct.Pin = TE_Pin;
  GPIO_InitStruct.Mode = GPIO_MODE_INPUT;
  GPIO_InitStruct.Pull = GPIO_NOPULL;
  HAL_GPIO_Init(TE_GPIO_Port, &GPIO_InitStruct);

  /*Configure GPIO pins : RDX_Pin WRX_DCX_Pin */
  GPIO_InitStruct.Pin = RDX_Pin|WRX_DCX_Pin;
  GPIO_InitStruct.Mode = GPIO_MODE_OUTPUT_PP;
  GPIO_InitStruct.Pull = GPIO_NOPULL;
  GPIO_InitStruct.Speed = GPIO_SPEED_FREQ_LOW;
  HAL_GPIO_Init(GPIOD, &GPIO_InitStruct);

  /*Configure GPIO pins : R7_Pin DOTCLK_Pin B3_Pin */
  GPIO_InitStruct.Pin = R7_Pin|DOTCLK_Pin|B3_Pin;
  GPIO_InitStruct.Mode = GPIO_MODE_AF_PP;
  GPIO_InitStruct.Pull = GPIO_NOPULL;
  GPIO_InitStruct.Speed = GPIO_SPEED_FREQ_LOW;
  GPIO_InitStruct.Alternate = GPIO_AF14_LTDC;
  HAL_GPIO_Init(GPIOG, &GPIO_InitStruct);

  /*Configure GPIO pins : HSYNC_Pin G6_Pin R2_Pin */
  GPIO_InitStruct.Pin = HSYNC_Pin|G6_Pin|R2_Pin;
  GPIO_InitStruct.Mode = GPIO_MODE_AF_PP;
  GPIO_InitStruct.Pull = GPIO_NOPULL;
  GPIO_InitStruct.Speed = GPIO_SPEED_FREQ_LOW;
  GPIO_InitStruct.Alternate = GPIO_AF14_LTDC;
  HAL_GPIO_Init(GPIOC, &GPIO_InitStruct);

  /*Configure GPIO pin : I2C3_SDA_Pin */
  GPIO_InitStruct.Pin = I2C3_SDA_Pin;
  GPIO_InitStruct.Mode = GPIO_MODE_AF_OD;
  GPIO_InitStruct.Pull = GPIO_NOPULL;
  GPIO_InitStruct.Speed = GPIO_SPEED_FREQ_LOW;
  GPIO_InitStruct.Alternate = GPIO_AF4_I2C3;
  HAL_GPIO_Init(I2C3_SDA_GPIO_Port, &GPIO_InitStruct);

  /*Configure GPIO pin : I2C3_SCL_Pin */
  GPIO_InitStruct.Pin = I2C3_SCL_Pin;
  GPIO_InitStruct.Mode = GPIO_MODE_AF_OD;
  GPIO_InitStruct.Pull = GPIO_NOPULL;
  GPIO_InitStruct.Speed = GPIO_SPEED_FREQ_LOW;
  GPIO_InitStruct.Alternate = GPIO_AF4_I2C3;
  HAL_GPIO_Init(I2C3_SCL_GPIO_Port, &GPIO_InitStruct);

  /*Configure GPIO pins : STLINK_RX_Pin STLINK_TX_Pin */
  GPIO_InitStruct.Pin = STLINK_RX_Pin|STLINK_TX_Pin;
  GPIO_InitStruct.Mode = GPIO_MODE_AF_PP;
  GPIO_InitStruct.Pull = GPIO_NOPULL;
  GPIO_InitStruct.Speed = GPIO_SPEED_FREQ_VERY_HIGH;
  GPIO_InitStruct.Alternate = GPIO_AF7_USART1;
  HAL_GPIO_Init(GPIOA, &GPIO_InitStruct);

  /*Configure GPIO pins : G7_Pin B2_Pin */
  GPIO_InitStruct.Pin = G7_Pin|B2_Pin;
  GPIO_InitStruct.Mode = GPIO_MODE_AF_PP;
  GPIO_InitStruct.Pull = GPIO_NOPULL;
  GPIO_InitStruct.Speed = GPIO_SPEED_FREQ_LOW;
  GPIO_InitStruct.Alternate = GPIO_AF14_LTDC;
  HAL_GPIO_Init(GPIOD, &GPIO_InitStruct);

  /*Configure GPIO pins : G3_Pin B4_Pin */
  GPIO_InitStruct.Pin = G3_Pin|B4_Pin;
  GPIO_InitStruct.Mode = GPIO_MODE_AF_PP;
  GPIO_InitStruct.Pull = GPIO_NOPULL;
  GPIO_InitStruct.Speed = GPIO_SPEED_FREQ_LOW;
  GPIO_InitStruct.Alternate = GPIO_AF9_LTDC;
  HAL_GPIO_Init(GPIOG, &GPIO_InitStruct);

  /*Configure GPIO pins : LD3_Pin LD4_Pin */
  GPIO_InitStruct.Pin = LD3_Pin|LD4_Pin;
  GPIO_InitStruct.Mode = GPIO_MODE_OUTPUT_PP;
  GPIO_InitStruct.Pull = GPIO_NOPULL;
  GPIO_InitStruct.Speed = GPIO_SPEED_FREQ_LOW;
  HAL_GPIO_Init(GPIOG, &GPIO_InitStruct);

  /*Configure GPIO pins : SDCKE1_Pin SDNE1_Pin */
  GPIO_InitStruct.Pin = SDCKE1_Pin|SDNE1_Pin;
  GPIO_InitStruct.Mode = GPIO_MODE_AF_PP;
  GPIO_InitStruct.Pull = GPIO_NOPULL;
  GPIO_InitStruct.Speed = GPIO_SPEED_FREQ_VERY_HIGH;
  GPIO_InitStruct.Alternate = GPIO_AF12_FMC;
  HAL_GPIO_Init(GPIOB, &GPIO_InitStruct);

}

/* USER CODE BEGIN 4 */

static void AddToLog(const char *pcString)
{
	/* Try to acqire the mutex.  */
	if( xSemaphoreTake( xLogMutex, (TickType_t)5 ) == pdTRUE )
	{
		 /* mutex acquired */
		printf("%s",pcString);

		xSemaphoreGive( xLogMutex );

	}
	else
	{
		 /* Failed to acquire mutex */
	}
	//printf("%s",pcString);
}

static void TaskHandler1(void *pvParam)
{
	for(;;)
	{
		AddToLog("TaskHandler1\n");
	}
}

static void TaskHandler2(void *pvParam)
{
	for(;;)
	{
		AddToLog("TaskHandler2\n");
	}
}

static void TaskHandler3(void *pvParam)
{
	for(;;)
	{
		AddToLog("TaskHandler3\n");
	}
}
/* USER CODE END 4 */

void HAL_TIM_PeriodElapsedCallback(TIM_HandleTypeDef *htim)
{
  if (htim->Instance == TIM6) {
    HAL_IncTick();
  }
}

void Error_Handler(void)
{
  __disable_irq();
  while (1)
  {
  }
}
